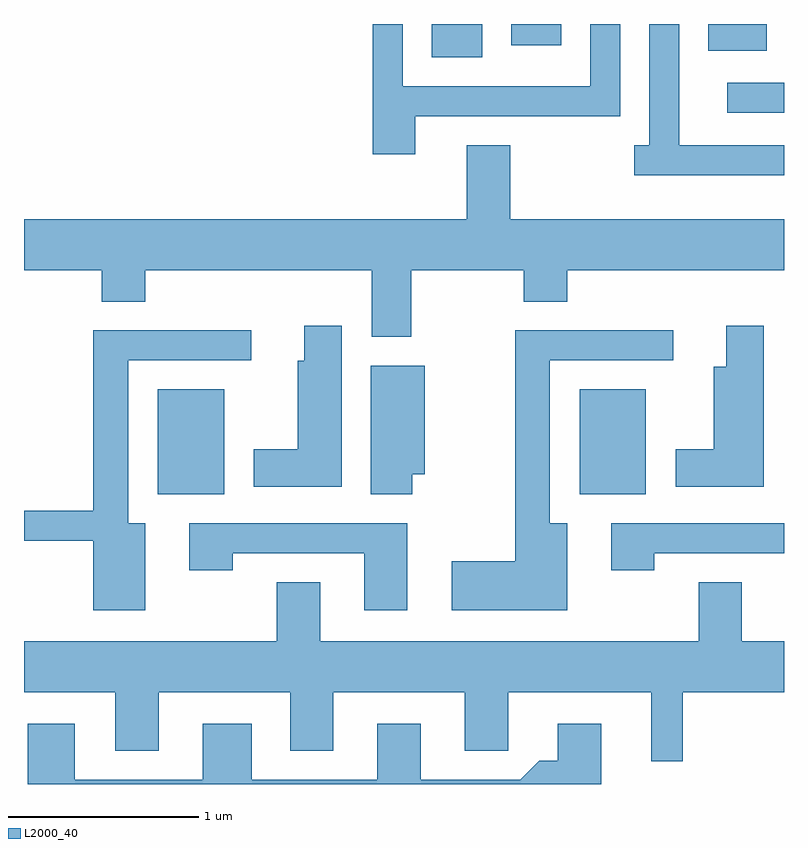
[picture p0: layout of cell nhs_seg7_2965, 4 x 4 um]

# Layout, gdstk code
import gdstk
lib = gdstk.Library(unit=1e-6, precision=1e-09)
def R(c, l, rs):  # rectangles x0, y0, x1, y1
    for r in rs: c.add(gdstk.rectangle(r[:2], r[2:], *l))
def P(c, l, *ps):  # polygons
    for p in ps: c.add(gdstk.Polygon(p, *l))
L2000_40 = (2000, 40)

nhs_seg7_2965 = lib.new_cell('nhs_seg7_2965')
R(nhs_seg7_2965, L2000_40, [(276.316,1739.776,276.664,1740.329), (278.536,1739.776,278.884,1740.329), (279.313,1741.786,279.611,1741.944), (277.756,1742.076,278.024,1742.252), (279.211,1742.111,279.519,1742.252), (278.176,1742.141,278.439,1742.252)])
P(nhs_seg7_2965, L2000_40, [(279.611,1741.614),(279.059,1741.614),(279.059,1742.252),(278.901,1742.252),(278.901,1741.614),(278.823,1741.614),(278.823,1741.456),(279.611,1741.456)],
  [(277.669,1741.766),(278.749,1741.766),(278.749,1742.252),(278.591,1742.252),(278.591,1741.924),(277.604,1741.924),(277.604,1742.252),(277.446,1742.252),(277.446,1741.566),(277.669,1741.566)],
  [(277.649,1740.956),(278.241,1740.956),(278.241,1740.791),(278.469,1740.791),(278.469,1740.956),(279.611,1740.956),(279.611,1741.224),(278.169,1741.224),(278.169,1741.614),(277.941,1741.614),(277.941,1741.224),(275.611,1741.224),(275.611,1740.956),(276.021,1740.956),(276.021,1740.791),(276.249,1740.791),(276.249,1740.956),(277.441,1740.956),(277.441,1740.606),(277.649,1740.606)],
  [(279.504,1740.664),(279.306,1740.664),(279.306,1740.449),(279.241,1740.449),(279.241,1740.014),(279.041,1740.014),(279.041,1739.816),(279.504,1739.816)],
  [(277.284,1740.664),(277.086,1740.664),(277.086,1740.479),(277.051,1740.479),(277.051,1740.014),(276.821,1740.014),(276.821,1739.816),(277.284,1739.816)],
  [(276.249,1739.624),(276.159,1739.624),(276.159,1740.481),(276.808,1740.481),(276.808,1740.639),(275.976,1740.639),(275.976,1739.689),(275.611,1739.689),(275.611,1739.531),(275.976,1739.531),(275.976,1739.166),(276.249,1739.166)],
  [(278.469,1739.624),(278.379,1739.624),(278.379,1740.481),(279.028,1740.481),(279.028,1740.639),(278.196,1740.639),(278.196,1739.424),(277.861,1739.424),(277.861,1739.166),(278.469,1739.166)],
  [(277.654,1739.881),(277.719,1739.881),(277.719,1740.454),(277.436,1740.454),(277.436,1739.776),(277.654,1739.776)],
  [(277.629,1739.624),(276.481,1739.624),(276.481,1739.376),(276.709,1739.376),(276.709,1739.466),(277.401,1739.466),(277.401,1739.166),(277.629,1739.166)],
  [(278.929,1739.466),(279.611,1739.466),(279.611,1739.624),(278.701,1739.624),(278.701,1739.376),(278.929,1739.376)],
  [(275.611,1738.736),(276.091,1738.736),(276.091,1738.426),(276.319,1738.426),(276.319,1738.736),(277.011,1738.736),(277.011,1738.426),(277.239,1738.426),(277.239,1738.736),(277.931,1738.736),(277.931,1738.426),(278.159,1738.426),(278.159,1738.736),(278.911,1738.736),(278.911,1738.373),(279.079,1738.373),(279.079,1738.736),(279.611,1738.736),(279.611,1739.004),(279.389,1739.004),(279.389,1739.314),(279.161,1739.314),(279.161,1739.004),(277.169,1739.004),(277.169,1739.314),(276.941,1739.314),(276.941,1739.004),(275.611,1739.004)],
  [(278.649,1738.569),(278.421,1738.569),(278.421,1738.374),(278.324,1738.374),(278.224,1738.274),(277.699,1738.274),(277.699,1738.569),(277.471,1738.569),(277.471,1738.274),(276.809,1738.274),(276.809,1738.569),(276.551,1738.569),(276.551,1738.274),(275.879,1738.274),(275.879,1738.569),(275.631,1738.569),(275.631,1738.252),(278.649,1738.252)])

lib.write_gds('nhs_seg7_2965.gds')
